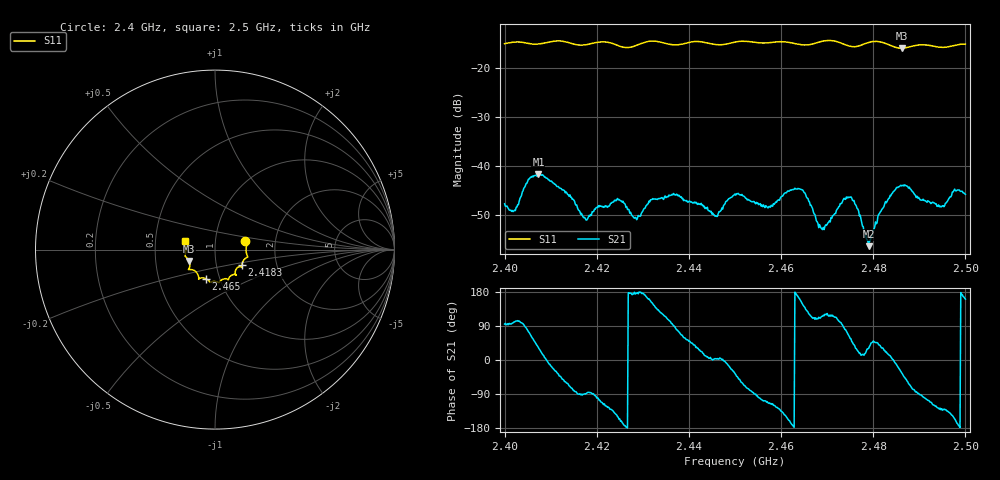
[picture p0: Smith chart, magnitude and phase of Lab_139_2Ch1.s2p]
# Hz S RI R 50
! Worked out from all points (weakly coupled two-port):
!   601 points, 2.4 GHz to 2.5 GHz, reference 50 ohm
!   highest |S21| = -41.75 dB at 2.4073 GHz (marker M1); lowest = -56.4 dB at 2.479 GHz (marker M2)
!   lowest |S11| = -16.1 dB at 2.4862 GHz (marker M3), VSWR 1.37, Z = 37.2 - j4.81 ohm
!   |S11| at or under -10 dB: start of sweep to end of sweep
!   S12 and S22 are empty: the file has one direction only
!   S11 on the Smith chart (normalised r, x): 2.4 GHz: 1.40, +0.13; 2.4183 GHz: 1.33, -0.24; 2.465 GHz: 0.86, -0.28; 2.5 GHz: 0.71, +0.07
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2.4e9  0.1687 0.0468  -0.000344 0.00408  0 0  0 0
2.402167e9  0.1778 0.0367  -0.000631 0.00347  0 0  0 0
2.405167e9  0.175 0.0176  0.00194 0.00702  0 0  0 0
2.407333e9  0.1732 -0.00758  0.0069 0.00439  0 0  0 0
2.416667e9  0.1546 -0.0684  -1.01e-05 -0.00328  0 0  0 0
2.418333e9  0.1499 -0.0871  0.000256 -0.00311  0 0  0 0
2.4245e9  0.1387 -0.095  -0.00398 -0.00238  0 0  0 0
2.4285e9  0.1128 -0.1238  -0.00293 0.000205  0 0  0 0
2.433333e9  0.1174 -0.1408  -0.00311 0.00339  0 0  0 0
2.437167e9  0.0893 -0.1448  0.000606 0.00497  0 0  0 0
2.445833e9  0.0549 -0.1623  0.00308 0.000173  0 0  0 0
2.45e9  0.026 -0.1799  0.00416 -0.00304  0 0  0 0
2.457e9  -0.00954 -0.1779  -0.00129 -0.00356  0 0  0 0
2.465e9  -0.0525 -0.1614  -0.00412 0.00336  0 0  0 0
2.466667e9  -0.0712 -0.1576  -0.0015 0.00349  0 0  0 0
2.469e9  -0.0891 -0.1629  -0.000961 0.00202  0 0  0 0
2.475e9  -0.1009 -0.1301  0.00263 0.00399  0 0  0 0
2.479e9  -0.142 -0.111  0.0013 0.000771  0 0  0 0
2.483333e9  -0.1412 -0.0968  0.00449 0.00115  0 0  0 0
2.486167e9  -0.1438 -0.0631  0.00518 -0.00345  0 0  0 0
2.494333e9  -0.161 -0.00519  -0.00243 -0.00294  0 0  0 0
2.5e9  -0.1664 0.0468  -0.00482 0.00169  0 0  0 0
